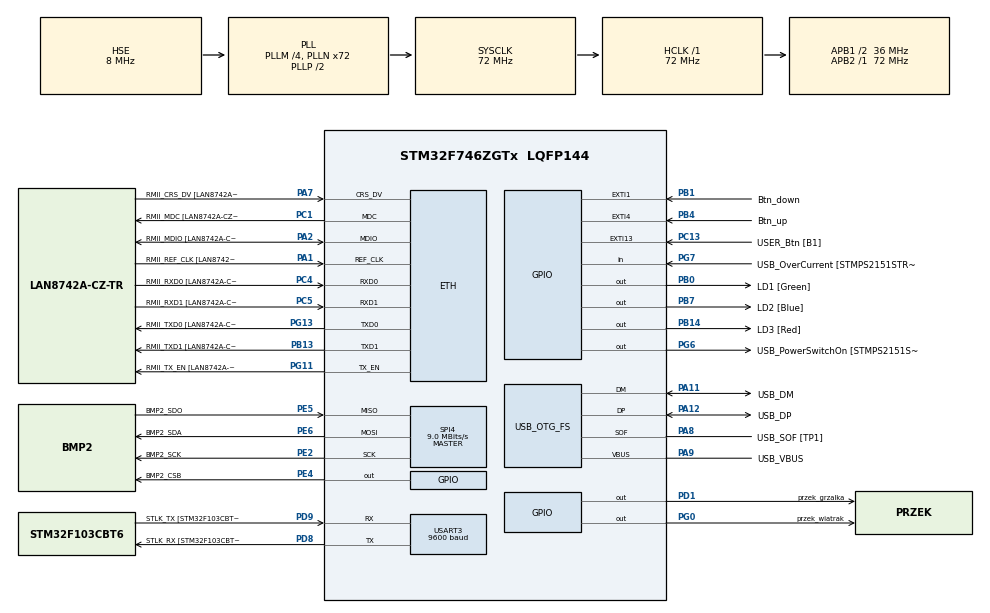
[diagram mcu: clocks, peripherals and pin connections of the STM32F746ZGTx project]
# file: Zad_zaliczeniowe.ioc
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ETH.MediaInterface=HAL_ETH_RMII_MODE
ETH.PHY_Name=LAN8742A_PHY_ADDRESS
ETH.PHY_Value=0
ETH.PhyAddress=0
Mcu.Family=STM32F7
Mcu.Name=STM32F746ZGTx
Mcu.Package=LQFP144
NVIC.ETH_IRQn=true\:0\:0\:false\:false\:true\:true\:true\:true
NVIC.EXTI1_IRQn=true\:0\:0\:false\:false\:true\:true\:true\:true
NVIC.EXTI4_IRQn=true\:0\:0\:false\:false\:true\:true\:true\:true
NVIC.PriorityGroup=NVIC_PRIORITYGROUP_4
NVIC.TIM4_IRQn=true\:0\:0\:false\:false\:true\:true\:true\:true
NVIC.USART3_IRQn=true\:0\:0\:false\:false\:true\:true\:true\:true
PA1.GPIO_Label=RMII_REF_CLK [LAN8742A-CZ-TR_REFCLK0]
PA1.Mode=RMII
PA1.Signal=ETH_REF_CLK
PA10.GPIO_Label=USB_ID
PA10.Signal=USB_OTG_FS_ID
PA11.GPIO_Label=USB_DM
PA11.Mode=Device_Only
PA11.Signal=USB_OTG_FS_DM
PA12.GPIO_Label=USB_DP
PA12.Mode=Device_Only
PA12.Signal=USB_OTG_FS_DP
PA13.GPIO_Label=TMS
PA13.Mode=Serial_Wire
PA13.Signal=SYS_JTMS-SWDIO
PA14.GPIO_Label=TCK
PA14.Mode=Serial_Wire
PA14.Signal=SYS_JTCK-SWCLK
PA2.GPIO_Label=RMII_MDIO [LAN8742A-CZ-TR_MDIO]
PA2.Mode=RMII
PA2.Signal=ETH_MDIO
PA7.GPIO_Label=RMII_CRS_DV [LAN8742A-CZ-TR_CRS_DV]
PA7.Mode=RMII
PA7.Signal=ETH_CRS_DV
PA8.GPIO_Label=USB_SOF [TP1]
PA8.Mode=Activate_SOF_FS
PA8.Signal=USB_OTG_FS_SOF
PA9.GPIO_Label=USB_VBUS
PA9.Mode=Activate_VBUS
PA9.Signal=USB_OTG_FS_VBUS
PB0.GPIO_Label=LD1 [Green]
PB0.Signal=GPIO_Output
PB1.GPIO_Label=Btn_down
PB1.GPIO_ModeDefaultEXTI=GPIO_MODE_IT_RISING
PB1.GPIO_PuPd=GPIO_PULLDOWN
PB1.Signal=GPXTI1
PB13.GPIO_Label=RMII_TXD1 [LAN8742A-CZ-TR_TXD1]
PB13.Mode=RMII
PB13.Signal=ETH_TXD1
PB14.GPIO_Label=LD3 [Red]
PB14.Signal=GPIO_Output
PB3.GPIO_Label=SW0
PB3.Signal=SYS_JTDO-SWO
PB4.GPIO_Label=Btn_up
PB4.GPIO_ModeDefaultEXTI=GPIO_MODE_IT_RISING
PB4.GPIO_PuPd=GPIO_PULLDOWN
PB4.Signal=GPXTI4
PB7.GPIO_Label=LD2 [Blue]
PB7.Signal=GPIO_Output
PC1.GPIO_Label=RMII_MDC [LAN8742A-CZ-TR_MDC]
PC1.Mode=RMII
PC1.Signal=ETH_MDC
PC13.GPIO_Label=USER_Btn [B1]
PC13.Signal=GPXTI13
PC14/OSC32_IN.Mode=LSE-External-Oscillator
PC14/OSC32_IN.Signal=RCC_OSC32_IN
PC15/OSC32_OUT.Mode=LSE-External-Oscillator
PC15/OSC32_OUT.Signal=RCC_OSC32_OUT
PC4.GPIO_Label=RMII_RXD0 [LAN8742A-CZ-TR_RXD0]
PC4.Mode=RMII
PC4.Signal=ETH_RXD0
PC5.GPIO_Label=RMII_RXD1 [LAN8742A-CZ-TR_RXD1]
PC5.Mode=RMII
PC5.Signal=ETH_RXD1
PD1.GPIO_Label=przek_grzalka
PD1.GPIO_ModeDefaultOutputPP=GPIO_MODE_OUTPUT_PP
PD1.GPIO_PuPd=GPIO_NOPULL
PD1.PinState=GPIO_PIN_SET
PD1.Signal=GPIO_Output
PD8.GPIO_Label=STLK_RX [STM32F103CBT6_PA3]
PD8.GPIO_PuPd=GPIO_PULLUP
PD8.Mode=Asynchronous
PD8.Signal=USART3_TX
PD9.GPIO_Label=STLK_TX [STM32F103CBT6_PA2]
PD9.GPIO_PuPd=GPIO_PULLUP
PD9.Mode=Asynchronous
PD9.Signal=USART3_RX
PE2.GPIO_Label=BMP2_SCK
PE2.Mode=Full_Duplex_Master
PE2.Signal=SPI4_SCK
PE4.GPIO_Label=BMP2_CSB
PE4.GPIO_Speed=GPIO_SPEED_FREQ_HIGH
PE4.PinState=GPIO_PIN_SET
PE4.Signal=GPIO_Output
PE5.GPIO_Label=BMP2_SDO
PE5.Mode=Full_Duplex_Master
PE5.Signal=SPI4_MISO
PE6.GPIO_Label=BMP2_SDA
PE6.Mode=Full_Duplex_Master
PE6.Signal=SPI4_MOSI
PG0.GPIO_Label=przek_wiatrak
PG0.GPIO_ModeDefaultOutputPP=GPIO_MODE_OUTPUT_PP
PG0.GPIO_PuPd=GPIO_NOPULL
PG0.PinState=GPIO_PIN_SET
PG0.Signal=GPIO_Output
PG11.GPIO_Label=RMII_TX_EN [LAN8742A-CZ-TR_TXEN]
PG11.Mode=RMII
PG11.Signal=ETH_TX_EN
PG13.GPIO_Label=RMII_TXD0 [LAN8742A-CZ-TR_TXD0]
PG13.Mode=RMII
PG13.Signal=ETH_TXD0
PG6.GPIO_Label=USB_PowerSwitchOn [STMPS2151STR_EN]
PG6.Signal=GPIO_Output
PG7.GPIO_Label=USB_OverCurrent [STMPS2151STR_FAULT]
PG7.Signal=GPIO_Input
PH0/OSC_IN.GPIO_Label=MCO [STM32F103CBT6_PA8]
PH0/OSC_IN.Mode=HSE-External-Clock-Source
PH0/OSC_IN.Signal=RCC_OSC_IN
PH1/OSC_OUT.Mode=HSE-External-Clock-Source
PH1/OSC_OUT.Signal=RCC_OSC_OUT
ProjectManager.HeapSize=0x200
ProjectManager.StackSize=0x400
ProjectManager.TargetToolchain=STM32CubeIDE
RCC.48MHZClocksFreq_Value=24000000
RCC.AHBFreq_Value=72000000
RCC.APB1CLKDivider=RCC_HCLK_DIV2
RCC.APB1Freq_Value=36000000
RCC.APB1TimFreq_Value=72000000
RCC.APB2Freq_Value=72000000
RCC.APB2TimFreq_Value=72000000
RCC.CortexFreq_Value=72000000
RCC.HCLKFreq_Value=72000000
RCC.HSE_VALUE=8000000
RCC.HSI_VALUE=16000000
RCC.PLLM=4
RCC.PLLMUL=RCC_PLL_MUL9
RCC.PLLN=72
RCC.PLLQ=3
RCC.PRESCALERUSB=RCC_USBCLKSOURCE_PLL_DIV1_5
RCC.SYSCLKFreq_VALUE=72000000
RCC.SYSCLKSource=RCC_SYSCLKSOURCE_PLLCLK
RCC.SYSCLKSourceVirtual=RCC_SYSCLKSOURCE_PLLCLK
RCC.USBFreq_Value=48000000
RCC.VCOOutputFreq_Value=144000000
SPI4.BaudRatePrescaler=SPI_BAUDRATEPRESCALER_8
SPI4.CLKPhase=SPI_PHASE_2EDGE
SPI4.CLKPolarity=SPI_POLARITY_HIGH
SPI4.CalculateBaudRate=9.0 MBits/s
SPI4.DataSize=SPI_DATASIZE_8BIT
SPI4.Direction=SPI_DIRECTION_2LINES
SPI4.Mode=SPI_MODE_MASTER
SPI4.VirtualType=VM_MASTER
TIM4.Period=719
TIM4.Prescaler=4999
USART3.BaudRate=9600
USART3.VirtualMode-Asynchronous=VM_ASYNC
USB_OTG_FS.VirtualMode=Device_Only
VP_TIM4_VS_ClockSourceINT.Mode=Internal
board=NUCLEO-F746ZG

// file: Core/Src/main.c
/* USER CODE BEGIN Header */
/**
  ******************************************************************************
  * @file           : main.c
  * @brief          : Main program body
  ******************************************************************************
  * @attention
  *
  * Copyright (c) 2024 STMicroelectronics.
  * All rights reserved.
  *
  * This software is licensed under terms that can be found in the LICENSE file
  * in the root directory of this software component.
  * If no LICENSE file comes with this software, it is provided AS-IS.
  *
  ******************************************************************************
  */
/* USER CODE END Header */
#include "main.h"
#include "eth.h"
#include "spi.h"
#include "tim.h"
#include "usart.h"
#include "usb_otg.h"
#include "gpio.h"

/* USER CODE BEGIN Includes */
#include "bmp2_config.h"
#include <stdlib.h>
#include <stdio.h>
/* USER CODE END Includes */

/* USER CODE BEGIN PV */
double temp = 0.0f, press = 0.0f;
uint32_t tx_buffer[128], rx_buffer[30];
unsigned int tx_msg_len, rx_msg_len = 1, press_calk, temp_calk;
int temp_zadana = 0, wartosc_odebrana;
_Bool grzanie = 0, chlodzenie = 0;
uint16_t odebrane_znaki = 0, prosba_temp = 0, war_max = 84, war_min = 12;
/* USER CODE END PV */

void SystemClock_Config(void);

/* USER CODE BEGIN 0 */
void HAL_UART_RxCpltCallback(UART_HandleTypeDef *huart)
{
    HAL_UART_Receive_IT(&huart3, rx_buffer, rx_msg_len);
	if(sizeof(strtol((char*)&rx_buffer[0], 0, 10)) == 4)//jesli to int
		wartosc_odebrana = strtol((char*)&rx_buffer[0], 0, 10);

	prosba_temp = prosba_temp * 10 + wartosc_odebrana;

	if (huart->Instance == USART3) {  // Jeśli UART odebrał znak
		odebrane_znaki++;
	}

	if(odebrane_znaki == 2){
		odebrane_znaki = 0;
		if(prosba_temp >= war_min && prosba_temp <= war_max){
			temp_zadana = prosba_temp;
		}
		prosba_temp = 0;
	}
}

void HAL_GPIO_EXTI_Callback(uint16_t GPIO_Pin)
{
	if (GPIO_Pin == Btn_up_Pin){
		if(temp_zadana <= war_max){
			temp_zadana += 1;
		}
	}
	if (GPIO_Pin == Btn_down_Pin){
		if(temp_zadana >= war_min){
			temp_zadana -= 1;
		}
	}
}

void grzanie_f(int temp_zadana)
{
	HAL_GPIO_WritePin(przek_grzalka_GPIO_Port, przek_grzalka_Pin, GPIO_PIN_SET);
	HAL_GPIO_WritePin(przek_wiatrak_GPIO_Port, przek_wiatrak_Pin, GPIO_PIN_RESET);
}
void chlodzenie_f(int temp_zadana)
{
	HAL_GPIO_WritePin(przek_wiatrak_GPIO_Port, przek_wiatrak_Pin, GPIO_PIN_SET);
	HAL_GPIO_WritePin(przek_grzalka_GPIO_Port, przek_grzalka_Pin, GPIO_PIN_RESET);
}
void oczekiwanie_f(int temp_zadana)
{
	HAL_GPIO_WritePin(przek_wiatrak_GPIO_Port, przek_wiatrak_Pin, GPIO_PIN_SET);
	HAL_GPIO_WritePin(przek_grzalka_GPIO_Port, przek_grzalka_Pin, GPIO_PIN_SET);
}

void odbieranie_usart_f()
{
	BMP2_ReadData(&bmp2dev, &press, &temp);
	press_calk = 1000.0f * press / 1000;
	temp_calk = 1000.0f * temp / 1000;

	HAL_UART_Receive_IT(&huart3, rx_buffer, rx_msg_len);
	if(wartosc_odebrana >= war_min && wartosc_odebrana <= war_max)
		temp_zadana = wartosc_odebrana;
}

void sterowanie_f()
{
	if (!grzanie && temp_calk < temp_zadana) {
		grzanie = 1;
	    chlodzenie = 0;
	    grzanie_f(temp_zadana);
	}
	else if (grzanie && !chlodzenie && temp_calk > (temp_zadana - 1)) {
		grzanie = 0;
		oczekiwanie_f(temp_zadana);
	}

	if (!chlodzenie && temp_calk > temp_zadana-0.2) {
		chlodzenie = 1;
		grzanie = 0;
		chlodzenie_f(temp_zadana);
	}else if (chlodzenie && !grzanie && temp_calk < temp_zadana) {
		chlodzenie = 0;
		oczekiwanie_f(temp_zadana);
	}
}

void HAL_TIM_PeriodElapsedCallback(TIM_HandleTypeDef *htim)
{
  if(htim == &htim4){
	  odbieranie_usart_f();
	  sterowanie_f();
  }
}
/* USER CODE END 0 */

int main(void)
{

  /* MCU Configuration--------------------------------------------------------*/

  /* Reset of all peripherals, Initializes the Flash interface and the Systick. */
  HAL_Init();

  /* Configure the system clock */
  SystemClock_Config();

  /* Initialize all configured peripherals */
  MX_GPIO_Init();
  MX_ETH_Init();
  MX_USART3_UART_Init();
  MX_USB_OTG_FS_PCD_Init();
  MX_SPI4_Init();
  MX_TIM4_Init();
  /* USER CODE BEGIN 2 */
  BMP2_Init(&bmp2dev);
  MX_TIM4_Init();
  HAL_UART_Receive_IT(&huart3, tx_buffer, tx_msg_len);
  HAL_TIM_Base_Start_IT(&htim4);

  HAL_GPIO_WritePin(przek_grzalka_GPIO_Port, przek_grzalka_Pin, GPIO_PIN_SET);
  HAL_GPIO_WritePin(przek_wiatrak_GPIO_Port, przek_wiatrak_Pin, GPIO_PIN_SET);

  BMP2_ReadData(&bmp2dev, &press, &temp);
  HAL_Delay(10);
  BMP2_ReadData(&bmp2dev, &press, &temp);
  temp_zadana = 1000.0f * temp / 1000;
  /* USER CODE END 2 */

  /* Infinite loop */
  /* USER CODE BEGIN WHILE */
  while (1)
  {
	  tx_msg_len = sprintf((char*)tx_buffer, "Aktualna temperatura: %2u C, ustawiona temperatura: %2u C. Ustaw wybrana wartosc temperatury:\r", temp_calk, temp_zadana);
	  HAL_UART_Transmit(&huart3, tx_buffer, tx_msg_len, 100);
	  odebrane_znaki = 0;
	  prosba_temp = 0;

	  HAL_Delay(500);
    /* USER CODE END WHILE */

  }
}

void SystemClock_Config(void)
{
  RCC_OscInitTypeDef RCC_OscInitStruct = {0};
  RCC_ClkInitTypeDef RCC_ClkInitStruct = {0};

  /** Configure LSE Drive Capability
  */
  HAL_PWR_EnableBkUpAccess();

  /** Configure the main internal regulator output voltage
  */
  __HAL_RCC_PWR_CLK_ENABLE();
  __HAL_PWR_VOLTAGESCALING_CONFIG(PWR_REGULATOR_VOLTAGE_SCALE3);

  /** Initializes the RCC Oscillators according to the specified parameters
  * in the RCC_OscInitTypeDef structure.
  */
  RCC_OscInitStruct.OscillatorType = RCC_OSCILLATORTYPE_HSE;
  RCC_OscInitStruct.HSEState = RCC_HSE_BYPASS;
  RCC_OscInitStruct.PLL.PLLState = RCC_PLL_ON;
  RCC_OscInitStruct.PLL.PLLSource = RCC_PLLSOURCE_HSE;
  RCC_OscInitStruct.PLL.PLLM = 4;
  RCC_OscInitStruct.PLL.PLLN = 72;
  RCC_OscInitStruct.PLL.PLLP = RCC_PLLP_DIV2;
  RCC_OscInitStruct.PLL.PLLQ = 3;
  if (HAL_RCC_OscConfig(&RCC_OscInitStruct) != HAL_OK)
  {
    Error_Handler();
  }

  /** Initializes the CPU, AHB and APB buses clocks
  */
  RCC_ClkInitStruct.ClockType = RCC_CLOCKTYPE_HCLK|RCC_CLOCKTYPE_SYSCLK
                              |RCC_CLOCKTYPE_PCLK1|RCC_CLOCKTYPE_PCLK2;
  RCC_ClkInitStruct.SYSCLKSource = RCC_SYSCLKSOURCE_PLLCLK;
  RCC_ClkInitStruct.AHBCLKDivider = RCC_SYSCLK_DIV1;
  RCC_ClkInitStruct.APB1CLKDivider = RCC_HCLK_DIV2;
  RCC_ClkInitStruct.APB2CLKDivider = RCC_HCLK_DIV1;

  if (HAL_RCC_ClockConfig(&RCC_ClkInitStruct, FLASH_LATENCY_2) != HAL_OK)
  {
    Error_Handler();
  }
}

void Error_Handler(void)
{
  __disable_irq();
  while (1)
  {
  }
}
